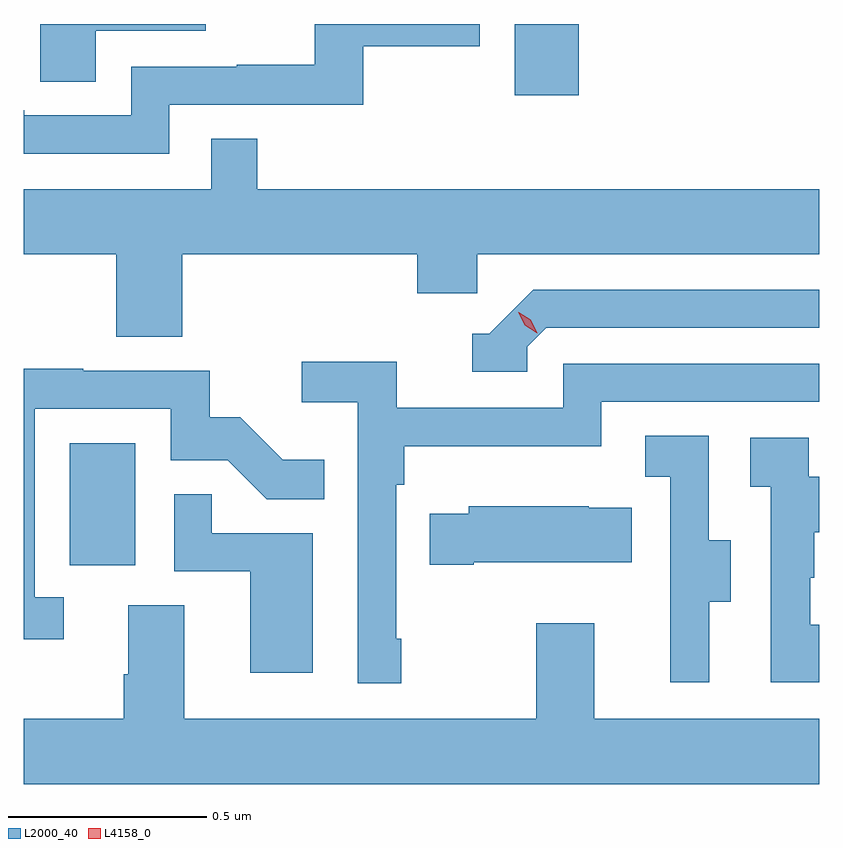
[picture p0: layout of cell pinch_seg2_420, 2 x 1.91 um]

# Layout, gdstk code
import gdstk
lib = gdstk.Library(unit=1e-6, precision=1e-09)
def R(c, l, rs):  # rectangles x0, y0, x1, y1
    for r in rs: c.add(gdstk.rectangle(r[:2], r[2:], *l))
def P(c, l, *ps):  # polygons
    for p in ps: c.add(gdstk.Polygon(p, *l))
L2000_40 = (2000, 40)
L4158_0 = (4158, 0)

pinch_seg2_420 = lib.new_cell('pinch_seg2_420')
R(pinch_seg2_420, L2000_40, [(1001.594,614.886,1001.758,615.193), (1002.713,616.068,1002.874,616.247)])
P(pinch_seg2_420, L2000_40, [(1001.844,616.044),(1002.331,616.044),(1002.331,616.191),(1002.624,616.191),(1002.624,616.247),(1002.21,616.247),(1002.21,616.145),(1002.013,616.145),(1002.013,616.14),(1001.748,616.14),(1001.748,616.017),(1001.479,616.017),(1001.479,616.03),(1001.478,616.03),(1001.478,615.921),(1001.844,615.921)],
  [(1001.659,616.23),(1001.936,616.23),(1001.936,616.247),(1001.519,616.247),(1001.519,616.102),(1001.659,616.102)],
  [(1001.876,615.668),(1002.467,615.668),(1002.467,615.57),(1002.618,615.57),(1002.618,615.668),(1003.478,615.668),(1003.478,615.832),(1002.065,615.832),(1002.065,615.959),(1001.949,615.959),(1001.949,615.832),(1001.478,615.832),(1001.478,615.668),(1001.711,615.668),(1001.711,615.46),(1001.876,615.46)],
  [(1002.744,615.435),(1002.792,615.483),(1003.478,615.483),(1003.478,615.579),(1002.759,615.579),(1002.648,615.468),(1002.605,615.468),(1002.605,615.372),(1002.744,615.372)],
  [(1002.427,614.701),(1002.414,614.701),(1002.414,615.089),(1002.434,615.089),(1002.434,615.185),(1002.93,615.185),(1002.93,615.297),(1003.478,615.297),(1003.478,615.393),(1002.834,615.393),(1002.834,615.282),(1002.416,615.282),(1002.416,615.398),(1002.177,615.398),(1002.177,615.296),(1002.318,615.296),(1002.318,614.589),(1002.427,614.589)],
  [(1001.578,614.805),(1001.505,614.805),(1001.505,615.279),(1001.847,615.279),(1001.847,615.15),(1001.991,615.15),(1002.089,615.052),(1002.233,615.052),(1002.233,615.151),(1002.129,615.151),(1002.022,615.258),(1001.946,615.258),(1001.946,615.375),(1001.627,615.375),(1001.627,615.38),(1001.478,615.38),(1001.478,614.7),(1001.578,614.7)],
  [(1003.201,614.794),(1003.255,614.794),(1003.255,614.949),(1003.2,614.949),(1003.2,615.212),(1003.041,615.212),(1003.041,615.109),(1003.104,615.109),(1003.104,614.805),(1003.103,614.805),(1003.103,614.592),(1003.201,614.592)],
  [(1003.478,614.736),(1003.455,614.736),(1003.455,614.855),(1003.465,614.855),(1003.465,614.969),(1003.478,614.969),(1003.478,615.109),(1003.452,615.109),(1003.452,615.207),(1003.305,615.207),(1003.305,615.083),(1003.356,615.083),(1003.356,614.592),(1003.478,614.592)],
  [(1002.205,614.967),(1001.951,614.967),(1001.951,615.065),(1001.856,615.065),(1001.856,614.871),(1002.047,614.871),(1002.047,614.616),(1002.205,614.616)],
  [(1002.61,614.894),(1003.007,614.894),(1003.007,615.031),(1002.899,615.031),(1002.899,615.034),(1002.597,615.034),(1002.597,615.016),(1002.499,615.016),(1002.499,614.887),(1002.61,614.887)],
  [(1003.478,614.5),(1002.913,614.5),(1002.913,614.74),(1002.766,614.74),(1002.766,614.5),(1001.881,614.5),(1001.881,614.786),(1001.741,614.786),(1001.741,614.612),(1001.729,614.612),(1001.729,614.5),(1001.478,614.5),(1001.478,614.336),(1003.478,614.336)])
P(pinch_seg2_420, L4158_0, [(1002.769,615.47),(1002.738,615.489),(1002.721,615.522),(1002.721,615.522),(1002.722,615.522),(1002.753,615.503),(1002.769,615.47),(1002.769,615.47)])

lib.write_gds('pinch_seg2_420.gds')
